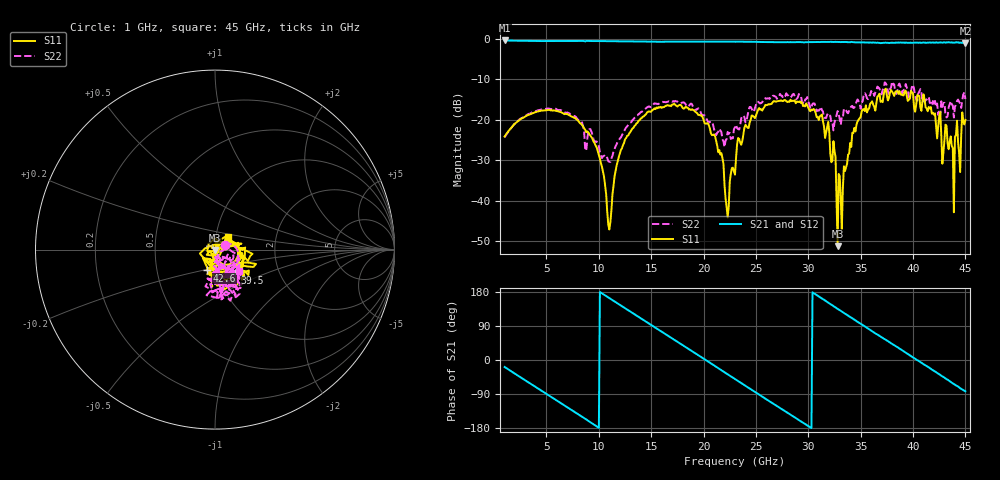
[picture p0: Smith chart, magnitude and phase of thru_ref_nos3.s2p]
!Keysight Technologies,N5247B,MY61255062,A.19.80.06
!Date: Monday, May 18, 2026 12:59:33
!Correction: S11(Cdelta 2-Port  )
!S21(Cdelta 2-Port  )
!S12(Cdelta 2-Port  )
!S22(Cdelta 2-Port  )
!S2P File: Measurements: S11, S21, S12, S22:
# Hz S  dB  R 50
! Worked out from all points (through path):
!   441 points, 1 GHz to 45 GHz, reference 50 ohm
!   highest |S21| = -0.39 dB at 1 GHz (marker M1); lowest = -1.1 dB at 45 GHz (marker M2)
!   group delay of S21, straight-line fit = 49.5 ps
!   lowest |S11| = -51.3 dB at 32.8 GHz (marker M3), VSWR 1.01, Z = 50.1 - j0.239 ohm
!   |S11| at or under -10 dB: start of sweep to end of sweep
!   |S22| runs from -30.4 to -10.5 dB; largest |S21 - S12| = 0.013
!   S11 on the Smith chart (normalised r, x): 1 GHz: 1.12, +0.06; 39.5 GHz: 1.20, -0.32; 42.6 GHz: 0.89, -0.21; 45 GHz: 1.14, +0.16
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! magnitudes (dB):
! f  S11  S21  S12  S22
! 1 GHz  -24.1  -0.4  -0.4  -24.3
! 4.8 GHz  -17.7  -0.5  -0.5  -17.3
! 8.4 GHz  -21.3  -0.5  -0.5  -20.7
! 10 GHz  -28.7  -0.5  -0.5  -26.6
! 11 GHz  -47.1  -0.6  -0.6  -30.4
! 12.5 GHz  -24.8  -0.6  -0.6  -22.4
! 15.7 GHz  -16.9  -0.7  -0.7  -16.1
! 20.4 GHz  -20.8  -0.7  -0.7  -20.4
! 21.7 GHz  -28.3  -0.7  -0.7  -23.0
! 22.2 GHz  -41.6  -0.7  -0.7  -24.8
! 23 GHz  -33.5  -0.7  -0.7  -21.9
! 25.3 GHz  -17.1  -0.8  -0.8  -15.8
! 30.4 GHz  -17.6  -0.8  -0.8  -16.1
! 31.9 GHz  -20.5  -0.7  -0.8  -18.4
! 32.8 GHz  -51.3  -0.8  -0.8  -17.8
! 33 GHz  -33.9  -0.8  -0.8  -19.8
! 35.1 GHz  -17.9  -0.9  -0.9  -15.9
! 37.7 GHz  -14.6  -1.0  -1.0  -13.7
! 39.5 GHz  -15.3  -1.0  -1.0  -12.5
! 42.6 GHz  -18.1  -0.9  -0.9  -18.9
! 43.7 GHz  -26.5  -0.9  -0.9  -16.2
! 45 GHz  -20.0  -1.1  -1.0  -14.9
